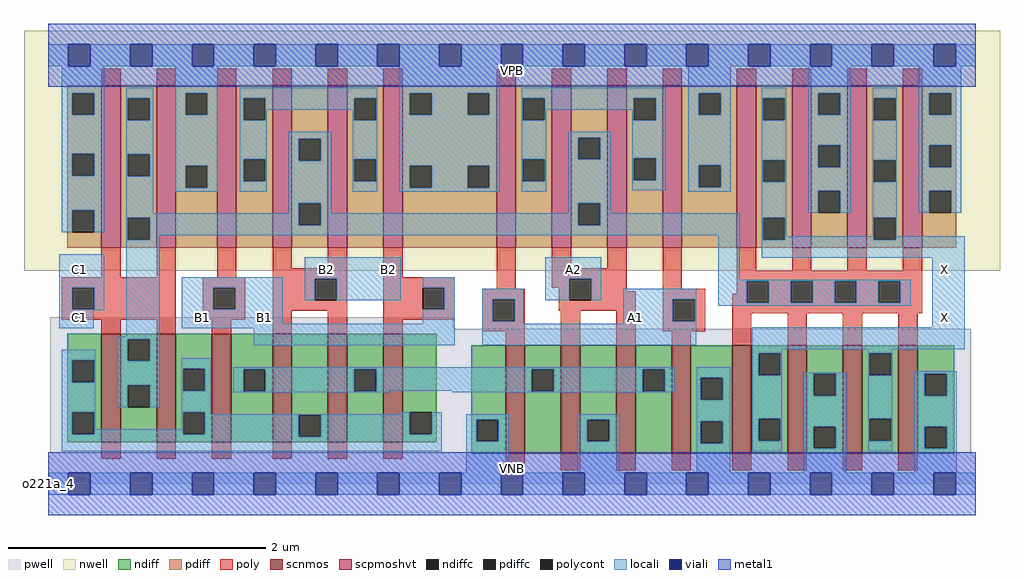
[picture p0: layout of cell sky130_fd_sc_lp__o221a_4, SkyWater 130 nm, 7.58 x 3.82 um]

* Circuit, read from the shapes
.subckt sky130_fd_sc_lp__o221a_4 A1 A2 B1 B2 C1 VGND VNB VPB VPWR X
XM1 n1 C1 n2 VNB sky130_fd_pr__nfet_01v8 w=0.84 l=0.15 m=2
XM2 n3 B1 n2 VNB sky130_fd_pr__nfet_01v8 w=0.84 l=0.15 m=2
XM3 n2 B2 n3 VNB sky130_fd_pr__nfet_01v8 w=0.84 l=0.15 m=2
XM4 n3 A1 VGND VNB sky130_fd_pr__nfet_01v8 w=0.84 l=0.15 m=2
XM5 VGND A2 n3 VNB sky130_fd_pr__nfet_01v8 w=0.84 l=0.15 m=2
XM6 X n1 VGND VNB sky130_fd_pr__nfet_01v8 w=0.84 l=0.15 m=4
XM7 n1 C1 VPWR VPB sky130_fd_pr__pfet_01v8_hvt w=1.26 l=0.15 m=2
XM8 n4 B1 VPWR VPB sky130_fd_pr__pfet_01v8_hvt w=1.26 l=0.15 m=2
XM9 n1 B2 n4 VPB sky130_fd_pr__pfet_01v8_hvt w=1.26 l=0.15 m=2
XM10 n5 A1 VPWR VPB sky130_fd_pr__pfet_01v8_hvt w=1.26 l=0.15 m=2
XM11 n1 A2 n5 VPB sky130_fd_pr__pfet_01v8_hvt w=1.26 l=0.15 m=2
XM12 X n1 VPWR VPB sky130_fd_pr__pfet_01v8_hvt w=1.26 l=0.15 m=4
.ends

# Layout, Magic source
magic
tech sky130A
magscale 1 2
<< nwell >>
rect -38 331 1478 704
<< pwell >>
rect 3 241 629 259
rect 3 49 1433 241
rect 0 0 1440 49
<< scnmos >>
rect 82 65 112 233
rect 168 65 198 233
rect 254 65 284 233
rect 348 65 378 233
rect 434 65 464 233
rect 520 65 550 233
rect 710 47 740 215
rect 796 47 826 215
rect 882 47 912 215
rect 968 47 998 215
rect 1062 47 1092 215
rect 1148 47 1178 215
rect 1234 47 1264 215
rect 1320 47 1350 215
<< scpmoshvt >>
rect 82 367 112 619
rect 168 367 198 619
rect 262 367 292 619
rect 348 367 378 619
rect 434 367 464 619
rect 520 367 550 619
rect 696 367 726 619
rect 782 367 812 619
rect 868 367 898 619
rect 954 367 984 619
rect 1069 367 1099 619
rect 1155 367 1185 619
rect 1241 367 1271 619
rect 1327 367 1357 619
<< ndiff >>
rect 29 192 82 233
rect 29 158 37 192
rect 71 158 82 192
rect 29 111 82 158
rect 29 77 37 111
rect 71 77 82 111
rect 29 65 82 77
rect 112 225 168 233
rect 112 191 123 225
rect 157 191 168 225
rect 112 153 168 191
rect 112 119 123 153
rect 157 119 168 153
rect 112 65 168 119
rect 198 179 254 233
rect 198 145 209 179
rect 243 145 254 179
rect 198 111 254 145
rect 198 77 209 111
rect 243 77 254 111
rect 198 65 254 77
rect 284 178 348 233
rect 284 144 303 178
rect 337 144 348 178
rect 284 65 348 144
rect 378 107 434 233
rect 378 73 389 107
rect 423 73 434 107
rect 378 65 434 73
rect 464 178 520 233
rect 464 144 475 178
rect 509 144 520 178
rect 464 65 520 144
rect 550 111 603 233
rect 550 77 561 111
rect 595 77 603 111
rect 550 65 603 77
rect 657 100 710 215
rect 657 66 665 100
rect 699 66 710 100
rect 657 47 710 66
rect 740 178 796 215
rect 740 144 751 178
rect 785 144 796 178
rect 740 47 796 144
rect 826 100 882 215
rect 826 66 837 100
rect 871 66 882 100
rect 826 47 882 66
rect 912 178 968 215
rect 912 144 923 178
rect 957 144 968 178
rect 912 47 968 144
rect 998 165 1062 215
rect 998 131 1013 165
rect 1047 131 1062 165
rect 998 97 1062 131
rect 998 63 1013 97
rect 1047 63 1062 97
rect 998 47 1062 63
rect 1092 203 1148 215
rect 1092 169 1103 203
rect 1137 169 1148 203
rect 1092 101 1148 169
rect 1092 67 1103 101
rect 1137 67 1148 101
rect 1092 47 1148 67
rect 1178 171 1234 215
rect 1178 137 1189 171
rect 1223 137 1234 171
rect 1178 89 1234 137
rect 1178 55 1189 89
rect 1223 55 1234 89
rect 1178 47 1234 55
rect 1264 203 1320 215
rect 1264 169 1275 203
rect 1309 169 1320 203
rect 1264 101 1320 169
rect 1264 67 1275 101
rect 1309 67 1320 101
rect 1264 47 1320 67
rect 1350 171 1407 215
rect 1350 137 1361 171
rect 1395 137 1407 171
rect 1350 89 1407 137
rect 1350 55 1361 89
rect 1395 55 1407 89
rect 1350 47 1407 55
<< pdiff >>
rect 29 607 82 619
rect 29 573 37 607
rect 71 573 82 607
rect 29 513 82 573
rect 29 479 37 513
rect 71 479 82 513
rect 29 425 82 479
rect 29 391 37 425
rect 71 391 82 425
rect 29 367 82 391
rect 112 599 168 619
rect 112 565 123 599
rect 157 565 168 599
rect 112 512 168 565
rect 112 478 123 512
rect 157 478 168 512
rect 112 413 168 478
rect 112 379 123 413
rect 157 379 168 413
rect 112 367 168 379
rect 198 607 262 619
rect 198 573 213 607
rect 247 573 262 607
rect 198 494 262 573
rect 198 460 213 494
rect 247 460 262 494
rect 198 367 262 460
rect 292 599 348 619
rect 292 565 303 599
rect 337 565 348 599
rect 292 504 348 565
rect 292 470 303 504
rect 337 470 348 504
rect 292 367 348 470
rect 378 536 434 619
rect 378 502 389 536
rect 423 502 434 536
rect 378 436 434 502
rect 378 402 389 436
rect 423 402 434 436
rect 378 367 434 402
rect 464 599 520 619
rect 464 565 475 599
rect 509 565 520 599
rect 464 504 520 565
rect 464 470 475 504
rect 509 470 520 504
rect 464 367 520 470
rect 550 607 696 619
rect 550 573 561 607
rect 595 573 651 607
rect 685 573 696 607
rect 550 494 696 573
rect 550 460 561 494
rect 595 460 651 494
rect 685 460 696 494
rect 550 367 696 460
rect 726 599 782 619
rect 726 565 737 599
rect 771 565 782 599
rect 726 504 782 565
rect 726 470 737 504
rect 771 470 782 504
rect 726 367 782 470
rect 812 538 868 619
rect 812 504 823 538
rect 857 504 868 538
rect 812 436 868 504
rect 812 402 823 436
rect 857 402 868 436
rect 812 367 868 402
rect 898 599 954 619
rect 898 565 909 599
rect 943 565 954 599
rect 898 506 954 565
rect 898 472 909 506
rect 943 472 954 506
rect 898 367 954 472
rect 984 607 1069 619
rect 984 573 1010 607
rect 1044 573 1069 607
rect 984 495 1069 573
rect 984 461 1010 495
rect 1044 461 1069 495
rect 984 367 1069 461
rect 1099 599 1155 619
rect 1099 565 1110 599
rect 1144 565 1155 599
rect 1099 503 1155 565
rect 1099 469 1110 503
rect 1144 469 1155 503
rect 1099 413 1155 469
rect 1099 379 1110 413
rect 1144 379 1155 413
rect 1099 367 1155 379
rect 1185 607 1241 619
rect 1185 573 1196 607
rect 1230 573 1241 607
rect 1185 526 1241 573
rect 1185 492 1196 526
rect 1230 492 1241 526
rect 1185 455 1241 492
rect 1185 421 1196 455
rect 1230 421 1241 455
rect 1185 367 1241 421
rect 1271 599 1327 619
rect 1271 565 1282 599
rect 1316 565 1327 599
rect 1271 503 1327 565
rect 1271 469 1282 503
rect 1316 469 1327 503
rect 1271 413 1327 469
rect 1271 379 1282 413
rect 1316 379 1327 413
rect 1271 367 1327 379
rect 1357 607 1410 619
rect 1357 573 1368 607
rect 1402 573 1410 607
rect 1357 526 1410 573
rect 1357 492 1368 526
rect 1402 492 1410 526
rect 1357 455 1410 492
rect 1357 421 1368 455
rect 1402 421 1410 455
rect 1357 367 1410 421
<< ndiffc >>
rect 37 158 71 192
rect 37 77 71 111
rect 123 191 157 225
rect 123 119 157 153
rect 209 145 243 179
rect 209 77 243 111
rect 303 144 337 178
rect 389 73 423 107
rect 475 144 509 178
rect 561 77 595 111
rect 665 66 699 100
rect 751 144 785 178
rect 837 66 871 100
rect 923 144 957 178
rect 1013 131 1047 165
rect 1013 63 1047 97
rect 1103 169 1137 203
rect 1103 67 1137 101
rect 1189 137 1223 171
rect 1189 55 1223 89
rect 1275 169 1309 203
rect 1275 67 1309 101
rect 1361 137 1395 171
rect 1361 55 1395 89
<< pdiffc >>
rect 37 573 71 607
rect 37 479 71 513
rect 37 391 71 425
rect 123 565 157 599
rect 123 478 157 512
rect 123 379 157 413
rect 213 573 247 607
rect 213 460 247 494
rect 303 565 337 599
rect 303 470 337 504
rect 389 502 423 536
rect 389 402 423 436
rect 475 565 509 599
rect 475 470 509 504
rect 561 573 595 607
rect 651 573 685 607
rect 561 460 595 494
rect 651 460 685 494
rect 737 565 771 599
rect 737 470 771 504
rect 823 504 857 538
rect 823 402 857 436
rect 909 565 943 599
rect 909 472 943 506
rect 1010 573 1044 607
rect 1010 461 1044 495
rect 1110 565 1144 599
rect 1110 469 1144 503
rect 1110 379 1144 413
rect 1196 573 1230 607
rect 1196 492 1230 526
rect 1196 421 1230 455
rect 1282 565 1316 599
rect 1282 469 1316 503
rect 1282 379 1316 413
rect 1368 573 1402 607
rect 1368 492 1402 526
rect 1368 421 1402 455
<< poly >>
rect 82 619 112 645
rect 168 619 198 645
rect 262 619 292 645
rect 348 619 378 645
rect 434 619 464 645
rect 520 619 550 645
rect 696 619 726 645
rect 782 619 812 645
rect 868 619 898 645
rect 954 619 984 645
rect 1069 619 1099 645
rect 1155 619 1185 645
rect 1241 619 1271 645
rect 1327 619 1357 645
rect 82 321 112 367
rect 168 321 198 367
rect 262 321 292 367
rect 348 335 378 367
rect 434 335 464 367
rect 21 305 198 321
rect 21 271 37 305
rect 71 271 198 305
rect 21 255 198 271
rect 240 305 306 321
rect 240 271 256 305
rect 290 271 306 305
rect 240 255 306 271
rect 348 319 464 335
rect 348 285 414 319
rect 448 285 464 319
rect 348 269 464 285
rect 82 233 112 255
rect 168 233 198 255
rect 254 233 284 255
rect 348 233 378 269
rect 434 233 464 269
rect 520 321 550 367
rect 520 305 631 321
rect 520 271 581 305
rect 615 271 631 305
rect 696 303 726 367
rect 782 335 812 367
rect 868 335 898 367
rect 782 319 898 335
rect 782 305 809 319
rect 520 255 631 271
rect 674 287 740 303
rect 520 233 550 255
rect 674 253 690 287
rect 724 253 740 287
rect 793 285 809 305
rect 843 299 898 319
rect 954 303 984 367
rect 1069 331 1099 367
rect 1155 331 1185 367
rect 1241 331 1271 367
rect 1327 331 1357 367
rect 1069 315 1357 331
rect 843 285 912 299
rect 793 269 912 285
rect 674 237 740 253
rect 710 215 740 237
rect 796 215 826 269
rect 882 215 912 269
rect 954 287 1020 303
rect 1069 295 1085 315
rect 954 253 970 287
rect 1004 253 1020 287
rect 954 237 1020 253
rect 1062 281 1085 295
rect 1119 281 1153 315
rect 1187 281 1221 315
rect 1255 281 1289 315
rect 1323 281 1357 315
rect 1062 265 1357 281
rect 968 215 998 237
rect 1062 215 1092 265
rect 1148 215 1178 265
rect 1234 215 1264 265
rect 1320 215 1350 265
rect 82 39 112 65
rect 168 39 198 65
rect 254 39 284 65
rect 348 39 378 65
rect 434 39 464 65
rect 520 39 550 65
rect 710 21 740 47
rect 796 21 826 47
rect 882 21 912 47
rect 968 21 998 47
rect 1062 21 1092 47
rect 1148 21 1178 47
rect 1234 21 1264 47
rect 1320 21 1350 47
<< polycont >>
rect 37 271 71 305
rect 256 271 290 305
rect 414 285 448 319
rect 581 271 615 305
rect 690 253 724 287
rect 809 285 843 319
rect 970 253 1004 287
rect 1085 281 1119 315
rect 1153 281 1187 315
rect 1221 281 1255 315
rect 1289 281 1323 315
<< locali >>
rect 0 649 31 683
rect 65 649 127 683
rect 161 649 223 683
rect 257 649 319 683
rect 353 649 415 683
rect 449 649 511 683
rect 545 649 607 683
rect 641 649 703 683
rect 737 649 799 683
rect 833 649 895 683
rect 929 649 991 683
rect 1025 649 1087 683
rect 1121 649 1183 683
rect 1217 649 1279 683
rect 1313 649 1375 683
rect 1409 649 1440 683
rect 21 607 87 649
rect 21 573 37 607
rect 71 573 87 607
rect 21 513 87 573
rect 21 479 37 513
rect 71 479 87 513
rect 21 425 87 479
rect 21 391 37 425
rect 71 391 87 425
rect 121 599 163 615
rect 121 565 123 599
rect 157 565 163 599
rect 121 512 163 565
rect 121 478 123 512
rect 157 478 163 512
rect 121 420 163 478
rect 197 607 263 649
rect 197 573 213 607
rect 247 573 263 607
rect 197 494 263 573
rect 197 460 213 494
rect 247 460 263 494
rect 197 454 263 460
rect 297 599 511 615
rect 297 565 303 599
rect 337 581 475 599
rect 337 565 339 581
rect 297 504 339 565
rect 473 565 475 581
rect 509 565 511 599
rect 297 470 303 504
rect 337 470 339 504
rect 297 454 339 470
rect 373 536 439 547
rect 373 502 389 536
rect 423 502 439 536
rect 373 436 439 502
rect 473 504 511 565
rect 473 470 475 504
rect 509 470 511 504
rect 473 454 511 470
rect 545 607 701 649
rect 545 573 561 607
rect 595 573 651 607
rect 685 573 701 607
rect 545 494 701 573
rect 545 460 561 494
rect 595 460 651 494
rect 685 460 701 494
rect 545 454 701 460
rect 735 599 959 615
rect 735 565 737 599
rect 771 581 909 599
rect 771 565 773 581
rect 735 504 773 565
rect 907 565 909 581
rect 943 565 959 599
rect 735 470 737 504
rect 771 470 773 504
rect 735 454 773 470
rect 807 538 873 547
rect 807 504 823 538
rect 857 504 873 538
rect 373 420 389 436
rect 121 413 389 420
rect 121 379 123 413
rect 157 402 389 413
rect 423 420 439 436
rect 807 436 873 504
rect 907 506 959 565
rect 907 472 909 506
rect 943 472 959 506
rect 907 456 959 472
rect 994 607 1060 649
rect 994 573 1010 607
rect 1044 573 1060 607
rect 994 495 1060 573
rect 994 461 1010 495
rect 1044 461 1060 495
rect 994 454 1060 461
rect 1108 599 1146 615
rect 1108 565 1110 599
rect 1144 565 1146 599
rect 1108 503 1146 565
rect 1108 469 1110 503
rect 1144 469 1146 503
rect 807 420 823 436
rect 423 402 823 420
rect 857 420 873 436
rect 857 402 1074 420
rect 157 386 1074 402
rect 157 379 173 386
rect 17 305 87 357
rect 17 271 37 305
rect 71 271 87 305
rect 17 270 87 271
rect 17 242 70 270
rect 121 229 173 379
rect 207 305 364 321
rect 207 271 256 305
rect 290 271 364 305
rect 398 319 547 352
rect 398 285 414 319
rect 448 285 547 319
rect 581 305 631 321
rect 207 249 364 271
rect 615 271 631 305
rect 772 319 859 352
rect 581 249 631 271
rect 207 242 631 249
rect 107 225 173 229
rect 21 192 73 208
rect 21 158 37 192
rect 71 158 73 192
rect 21 111 73 158
rect 107 191 123 225
rect 157 191 173 225
rect 319 215 631 242
rect 674 287 738 303
rect 674 253 690 287
rect 724 253 738 287
rect 772 285 809 319
rect 843 285 859 319
rect 1040 317 1074 386
rect 1108 413 1146 469
rect 1180 607 1246 649
rect 1180 573 1196 607
rect 1230 573 1246 607
rect 1180 526 1246 573
rect 1180 492 1196 526
rect 1230 492 1246 526
rect 1180 455 1246 492
rect 1180 421 1196 455
rect 1230 421 1246 455
rect 1280 599 1318 615
rect 1280 565 1282 599
rect 1316 565 1318 599
rect 1280 503 1318 565
rect 1280 469 1282 503
rect 1316 469 1318 503
rect 1108 379 1110 413
rect 1144 385 1146 413
rect 1280 413 1318 469
rect 1352 607 1418 649
rect 1352 573 1368 607
rect 1402 573 1418 607
rect 1352 526 1418 573
rect 1352 492 1368 526
rect 1402 492 1418 526
rect 1352 455 1418 492
rect 1352 421 1368 455
rect 1402 421 1418 455
rect 1280 385 1282 413
rect 1144 379 1282 385
rect 1316 385 1318 413
rect 1316 379 1423 385
rect 1108 351 1423 379
rect 1040 315 1339 317
rect 893 287 1006 303
rect 674 249 738 253
rect 893 253 970 287
rect 1004 253 1006 287
rect 1040 281 1085 315
rect 1119 281 1153 315
rect 1187 281 1221 315
rect 1255 281 1289 315
rect 1323 281 1339 315
rect 1040 277 1339 281
rect 893 249 1006 253
rect 674 215 1006 249
rect 1373 243 1423 351
rect 1093 209 1423 243
rect 1093 203 1139 209
rect 107 153 173 191
rect 107 119 123 153
rect 157 119 173 153
rect 207 179 253 195
rect 207 145 209 179
rect 243 145 253 179
rect 21 77 37 111
rect 71 85 73 111
rect 207 111 253 145
rect 287 178 973 181
rect 287 144 303 178
rect 337 144 475 178
rect 509 145 751 178
rect 509 144 529 145
rect 287 142 529 144
rect 627 144 751 145
rect 785 144 923 178
rect 957 144 973 178
rect 627 142 973 144
rect 1007 165 1059 181
rect 1007 131 1013 165
rect 1047 131 1059 165
rect 207 85 209 111
rect 71 77 209 85
rect 243 108 253 111
rect 545 108 561 111
rect 243 107 561 108
rect 243 77 389 107
rect 21 73 389 77
rect 423 77 561 107
rect 595 77 611 111
rect 423 73 611 77
rect 21 51 611 73
rect 649 100 715 108
rect 649 66 665 100
rect 699 66 715 100
rect 649 17 715 66
rect 821 100 887 108
rect 821 66 837 100
rect 871 66 887 100
rect 821 17 887 66
rect 1007 97 1059 131
rect 1007 63 1013 97
rect 1047 63 1059 97
rect 1007 17 1059 63
rect 1093 169 1103 203
rect 1137 169 1139 203
rect 1273 203 1311 209
rect 1093 101 1139 169
rect 1093 67 1103 101
rect 1137 67 1139 101
rect 1093 51 1139 67
rect 1173 171 1239 173
rect 1173 137 1189 171
rect 1223 137 1239 171
rect 1173 89 1239 137
rect 1173 55 1189 89
rect 1223 55 1239 89
rect 1173 17 1239 55
rect 1273 169 1275 203
rect 1309 169 1311 203
rect 1273 101 1311 169
rect 1273 67 1275 101
rect 1309 67 1311 101
rect 1273 51 1311 67
rect 1345 171 1411 175
rect 1345 137 1361 171
rect 1395 137 1411 171
rect 1345 89 1411 137
rect 1345 55 1361 89
rect 1395 55 1411 89
rect 1345 17 1411 55
rect 0 -17 31 17
rect 65 -17 127 17
rect 161 -17 223 17
rect 257 -17 319 17
rect 353 -17 415 17
rect 449 -17 511 17
rect 545 -17 607 17
rect 641 -17 703 17
rect 737 -17 799 17
rect 833 -17 895 17
rect 929 -17 991 17
rect 1025 -17 1087 17
rect 1121 -17 1183 17
rect 1217 -17 1279 17
rect 1313 -17 1375 17
rect 1409 -17 1440 17
<< viali >>
rect 31 649 65 683
rect 127 649 161 683
rect 223 649 257 683
rect 319 649 353 683
rect 415 649 449 683
rect 511 649 545 683
rect 607 649 641 683
rect 703 649 737 683
rect 799 649 833 683
rect 895 649 929 683
rect 991 649 1025 683
rect 1087 649 1121 683
rect 1183 649 1217 683
rect 1279 649 1313 683
rect 1375 649 1409 683
rect 31 -17 65 17
rect 127 -17 161 17
rect 223 -17 257 17
rect 319 -17 353 17
rect 415 -17 449 17
rect 511 -17 545 17
rect 607 -17 641 17
rect 703 -17 737 17
rect 799 -17 833 17
rect 895 -17 929 17
rect 991 -17 1025 17
rect 1087 -17 1121 17
rect 1183 -17 1217 17
rect 1279 -17 1313 17
rect 1375 -17 1409 17
<< metal1 >>
rect 0 683 1440 715
rect 0 649 31 683
rect 65 649 127 683
rect 161 649 223 683
rect 257 649 319 683
rect 353 649 415 683
rect 449 649 511 683
rect 545 649 607 683
rect 641 649 703 683
rect 737 649 799 683
rect 833 649 895 683
rect 929 649 991 683
rect 1025 649 1087 683
rect 1121 649 1183 683
rect 1217 649 1279 683
rect 1313 649 1375 683
rect 1409 649 1440 683
rect 0 617 1440 649
rect 0 17 1440 49
rect 0 -17 31 17
rect 65 -17 127 17
rect 161 -17 223 17
rect 257 -17 319 17
rect 353 -17 415 17
rect 449 -17 511 17
rect 545 -17 607 17
rect 641 -17 703 17
rect 737 -17 799 17
rect 833 -17 895 17
rect 929 -17 991 17
rect 1025 -17 1087 17
rect 1121 -17 1183 17
rect 1217 -17 1279 17
rect 1313 -17 1375 17
rect 1409 -17 1440 17
rect 0 -49 1440 -17
<< labels >>
flabel pwell s 0 0 1440 49 0 FreeSans 200 0 0 0 VNB
port 7 nsew ground bidirectional
flabel nwell s 0 617 1440 666 0 FreeSans 200 0 0 0 VPB
port 8 nsew power bidirectional
rlabel comment s 0 0 0 0 4 o221a_4
flabel metal1 s 0 617 1440 666 0 FreeSans 340 0 0 0 VPWR
port 9 nsew power bidirectional
flabel metal1 s 0 0 1440 49 0 FreeSans 340 0 0 0 VGND
port 6 nsew ground bidirectional
flabel locali s 799 316 833 350 0 FreeSans 340 0 0 0 A2
port 2 nsew signal input
flabel locali s 415 316 449 350 0 FreeSans 340 0 0 0 B2
port 4 nsew signal input
flabel locali s 511 316 545 350 0 FreeSans 340 0 0 0 B2
port 4 nsew signal input
flabel locali s 31 242 65 276 0 FreeSans 340 0 0 0 C1
port 5 nsew signal input
flabel locali s 31 316 65 350 0 FreeSans 340 0 0 0 C1
port 5 nsew signal input
flabel locali s 1375 242 1409 276 0 FreeSans 340 0 0 0 X
port 10 nsew signal output
flabel locali s 1375 316 1409 350 0 FreeSans 340 0 0 0 X
port 10 nsew signal output
flabel locali s 895 242 929 276 0 FreeSans 340 0 0 0 A1
port 1 nsew signal input
flabel locali s 223 242 257 276 0 FreeSans 340 0 0 0 B1
port 3 nsew signal input
flabel locali s 319 242 353 276 0 FreeSans 340 0 0 0 B1
port 3 nsew signal input
<< properties >>
string LEFsite unit
string LEFclass CORE
string FIXED_BBOX 0 0 1440 666
string GDS_FILE $PDKPATH/libs.ref/sky130_fd_sc_lp/gds/sky130_fd_sc_lp.gds
string LEFsymmetry X Y R90
string GDS_END 4920872
string GDS_START 4908574
<< end >>
